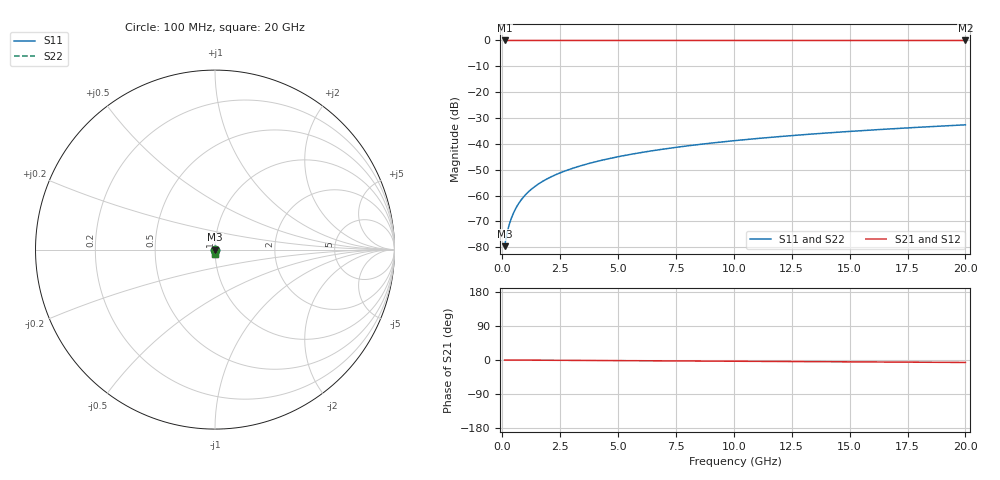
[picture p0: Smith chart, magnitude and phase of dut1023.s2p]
! Touchstone file exported from HFSS 2026.1.0
!  File:  C:/ffzhzh/LocalFiles/Ansys_Project_Files/temp_train_TSV_1023_1783188895_55132.aedt
!  Generated:  02:16:18 AM Jul  5, 2026
!  Design:  TSV
!  Project:  temp_train_TSV_1023_1783188895_55132
! Variables:
!  h_bsmrdl = 2um
!  h_ox = 20um
!  h_rdl = 5um
!  h_sub = 61.57um
!  h_tmrdl = 5um
!  h_tsv = 61.57um
!  h_via = 3um
!  l_bsmrdl = 300um
!  l_sub = 429.04um
!  l_tmrdl = 200um
!  m_sub = 200um
!  pitch = 47.56um
!  r_tsv = 14.52um
!  s_tmrdl = 10um
!  w_bsmrdl = 18um
!  w_sub = 500um
!  w_tmrdl = 12um
!  x_tsv_center1 = 206um
!  x_tsv_center2 = 524um
!  x_tsv_center3 = 736um
!  x_tsv_center4 = 1054um
!  x_tsv_center5 = 1266um
!  x_tsv_center6 = 1584um
# GHz S MA R 50.000000
! Terminal data exported
! Port[1] = TSV1_1_T1
! Port[2] = TSV1_1_T2
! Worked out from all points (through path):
!   200 points, 100 MHz to 20 GHz, reference 50 ohm
!   highest |S21| = 0.00 dB at 100 MHz (marker M1); lowest = 0.0 dB at 20 GHz (marker M2)
!   lowest |S11| = -79.6 dB at 100 MHz (marker M3), VSWR 1.00, Z = 50 - j0.00827 ohm
!   |S11| at or under -10 dB: start of sweep to end of sweep
!   |S22| runs from -79.6 to -32.7 dB; largest |S21 - S12| = 6e-15
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0.1  0.0001046 -52.2  0.9999 -0.0  0.9999 -0.0  0.0001046 -52.2
! Gamma 0 0 0 0
! Port Impedance 50 0 50 0
0.2  0.0001845 -66.0  0.9999 -0.1  0.9999 -0.1  0.0001845 -66.0
0.3  0.0002749 -70.6  0.9999 -0.1  0.9999 -0.1  0.0002749 -70.6
0.4  0.0003724 -72.9  0.9999 -0.1  0.9999 -0.1  0.0003724 -72.9
0.5  0.0004755 -74.4  0.9999 -0.2  0.9999 -0.2  0.0004755 -74.4
0.7  0.0006927 -76.5  0.9998 -0.2  0.9998 -0.2  0.0006927 -76.5
0.8  0.0008045 -77.4  0.9998 -0.3  0.9998 -0.3  0.0008045 -77.4
1  0.001031 -78.9  0.9998 -0.3  0.9998 -0.3  0.001031 -78.9
1.2  0.00126 -80.2  0.9998 -0.4  0.9998 -0.4  0.00126 -80.2
1.4  0.001489 -81.2  0.9998 -0.5  0.9998 -0.5  0.001489 -81.2
1.7  0.001832 -82.4  0.9997 -0.6  0.9997 -0.6  0.001832 -82.4
2  0.002174 -83.4  0.9997 -0.7  0.9997 -0.7  0.002174 -83.4
2.7  0.002974 -84.9  0.9997 -0.9  0.9997 -0.9  0.002974 -84.9
3.5  0.003891 -86.0  0.9996 -1.1  0.9996 -1.1  0.003891 -86.0
4.2  0.004697 -86.7  0.9996 -1.4  0.9996 -1.4  0.004697 -86.7
5  0.005624 -87.4  0.9996 -1.6  0.9996 -1.6  0.005624 -87.4
6.8  0.007723 -88.6  0.9995 -2.2  0.9995 -2.2  0.007723 -88.6
8.3  0.009482 -89.4  0.9994 -2.7  0.9994 -2.7  0.009482 -89.4
10.1  0.0116 -90.3  0.9993 -3.3  0.9993 -3.3  0.0116 -90.3
13.4  0.01549 -91.8  0.9992 -4.3  0.9992 -4.3  0.01549 -91.8
16.7  0.01939 -93.1  0.999 -5.4  0.999 -5.4  0.01939 -93.1
20  0.0233 -94.4  0.9989 -6.5  0.9989 -6.5  0.0233 -94.4
